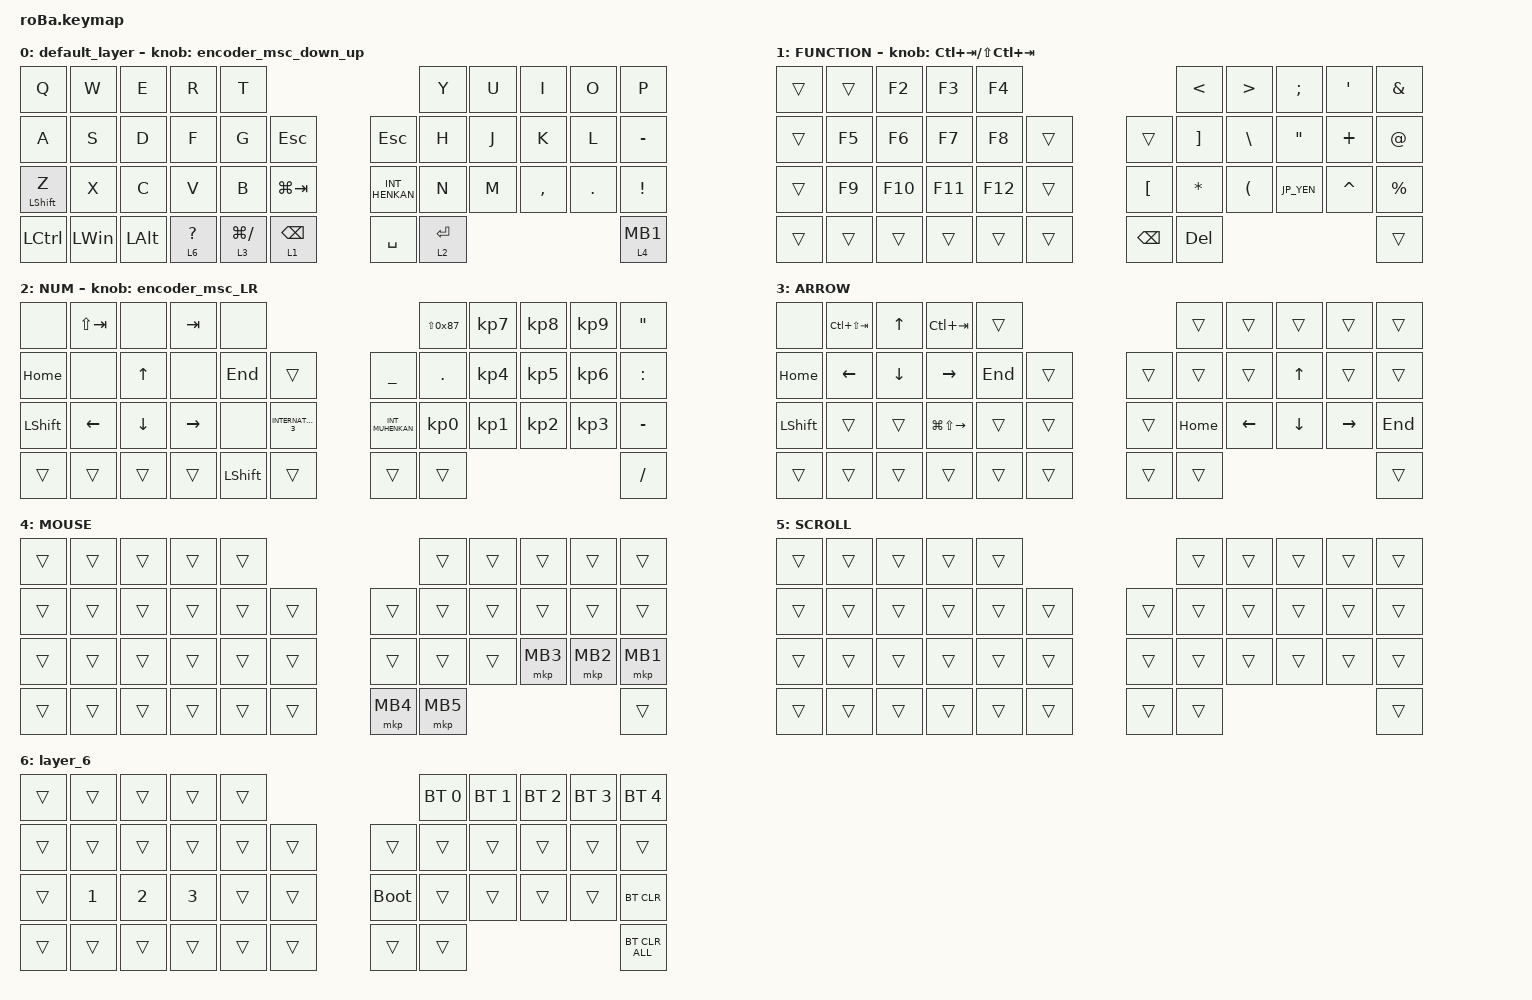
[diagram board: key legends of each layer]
#include <dt-bindings/zmk/mouse.h>
#include <behaviors.dtsi>
#include <dt-bindings/zmk/bt.h>
#include <dt-bindings/zmk/keys.h>
#include <dt-bindings/zmk/pointing.h>

#define ZMK_POINTING_DEFAULT_SCRL_VAL 80

// OS設定を日本語キーボードのまま使用するための変換定義

#define JP_DQUOTE       AT                // "
#define JP_AMPERSAND    CARET             // &
#define JP_QUOTE        AMPERSAND         // '
#define JP_EQUAL        UNDER             // =
#define JP_CARET        EQUAL             // ^
#define JP_YEN          0x89              // ¥
#define JP_PLUS         COLON             // +
#define JP_TILDE        PLUS              // ~
#define JP_PIPE         LS(0x89)          // |
#define JP_AT           LEFT_BRACKET      // @
#define JP_COLON        SINGLE_QUOTE      // :
#define JP_ASTERISK     DOUBLE_QUOTES     // *
#define JP_BACKQUOTE    LEFT_BRACE        // `
#define JP_UNDERSCORE   LS(0x87)          // _
#define JP_LBRACKET     RIGHT_BRACKET     // [
#define JP_RBRACKET     BACKSLASH         // ]
#define JP_LPAREN       ASTERISK          // (
#define JP_RPAREN       LEFT_PARENTHESIS  // )
#define JP_LBRACE       RIGHT_BRACE       // {
#define JP_RBRACE       PIPE              // }
#define JP_KANA         LANGUAGE_1        // かな
#define JP_EISU         LANGUAGE_2        // 英数
#define JP_HANZEN       GRAVE             // 半角/全角

&mt {
    flavor = "balanced";
    quick-tap-ms = <0>;
};

/ {
    combos {
        compatible = "zmk,combos";

        tab {
            bindings = <&kp TAB>;
            key-positions = <11 12>;
        };

        shift_tab {
            bindings = <&kp LS(TAB)>;
            key-positions = <12 13>;
        };

        Ctrl_Alt_Del {
            bindings = <&kp LC(LA(DEL))>;
            key-positions = <34 35 9>;
            layers = <0>;
        };

        Scroll_Layer {
            bindings = <&to 5>;
            key-positions = <32 33>;
        };
    };

    macros {
        to_layer_0: to_layer_0 {
            compatible = "zmk,behavior-macro-one-param";
            #binding-cells = <1>;
            bindings = <&to 0 &macro_param_1to1 &kp MACRO_PLACEHOLDER>;
            label = "TO_LAYER_0";
        };
    };

    behaviors {
        lt_to_layer_0: lt_to_layer_0 {
            compatible = "zmk,behavior-hold-tap";
            label = "LAYER_TAP_TO_0";
            bindings = <&mo>, <&to_layer_0>;

            #binding-cells = <2>;
            tapping-term-ms = <200>;
        };

        // 新しく「mlt（マウス・レイヤー・タップ）」という動作を定義

        mlt: mouse_layer_tap {
            compatible = "zmk,behavior-hold-tap";
            #binding-cells = <2>;
            flavor = "tap-preferred";
            tapping-term-ms = <200>;
            bindings = <&mo>, <&mkp>;
        };

        // スクロール上下の設定

        encoder_msc_down_up: encoder_msc_down_up {
            compatible = "zmk,behavior-sensor-rotate";
            label = "ENCODER_MSC_DOWN_UP";
            #sensor-binding-cells = <0>;
            bindings = <&msc SCRL_DOWN>, <&msc SCRL_UP>;

            tap-ms = <20>;
        };

        // スクロール左右の設定

        encoder_msc_LR: encoder_msc_LR {
            compatible = "zmk,behavior-sensor-rotate";
            label = "ENCODER_MSC_LR";
            #sensor-binding-cells = <0>;
            bindings = <&msc SCRL_RIGHT>, <&msc SCRL_LEFT>;

            tap-ms = <20>;
        };
    };

    keymap {
        compatible = "zmk,keymap";

        default_layer {
            bindings = <
&kp Q             &kp W         &kp E         &kp R                      &kp T                                                            &kp Y        &kp U  &kp I      &kp O    &kp P
&kp A             &kp S         &kp D         &kp F                      &kp G            &kp ESC                         &kp ESC         &kp H        &kp J  &kp K      &kp L    &kp MINUS
&mt LEFT_SHIFT Z  &kp X         &kp C         &kp V                      &kp B            &kp LG(TAB)                     &kp INT_HENKAN  &kp N        &kp M  &kp COMMA  &kp DOT  &kp EXCLAMATION
&kp LCTRL         &kp LEFT_WIN  &kp LEFT_ALT  &lt_to_layer_0 6 QUESTION  &lt 3 LG(SLASH)  &lt_to_layer_0 1 BACKSPACE      &kp SPACE       &lt 2 ENTER                             &mlt 4 MB1
            >;

            sensor-bindings = <&encoder_msc_down_up>;
        };

        FUNCTION {
            bindings = <
&trans  &trans  &kp F2   &kp F3   &kp F4                              &kp LESS_THAN    &kp GREATER_THAN  &kp SEMICOLON    &kp JP_COLON      &kp JP_QUOTE
&trans  &kp F5  &kp F6   &kp F7   &kp F8   &trans      &trans         &kp JP_LBRACKET  &kp JP_RBRACKET   &kp JP_ASTERISK  &kp JP_TILDE      &kp JP_DQUOTE
&trans  &kp F9  &kp F10  &kp F11  &kp F12  &trans      &kp JP_AT      &kp JP_LPAREN    &kp JP_RPAREN     &kp JP_YEN       &kp JP_AMPERSAND  &kp PERCENT
&trans  &trans  &trans   &trans   &trans   &trans      &kp BACKSPACE  &kp DELETE                                                            &trans
            >;

            sensor-bindings = <&inc_dec_kp LC(TAB) LS(LC(TAB))>;
        };

        NUM {
            bindings = <
&none           &kp LS(TAB)     &none         &kp TAB          &none                                                      &kp JP_UNDERSCORE  &kp KP_NUMBER_7  &kp KP_NUMBER_8  &kp KP_NUMBER_9  &kp JP_ASTERISK
&kp HOME        &none           &kp UP_ARROW  &none            &kp END         &trans                   &kp JP_EQUAL      &kp PERIOD         &kp KP_NUMBER_4  &kp KP_NUMBER_5  &kp KP_NUMBER_6  &kp JP_PLUS
&kp LEFT_SHIFT  &kp LEFT_ARROW  &kp DOWN      &kp RIGHT_ARROW  &none           &kp INTERNATIONAL_3      &kp INT_MUHENKAN  &kp KP_NUMBER_0    &kp KP_NUMBER_1  &kp KP_NUMBER_2  &kp KP_NUMBER_3  &kp MINUS
&trans          &trans          &trans        &trans           &kp LEFT_SHIFT  &trans                   &trans            &trans                                                                &kp SLASH
            >;

            sensor-bindings = <&encoder_msc_LR>;
        };

        ARROW {
            bindings = <
&none           &kp LC(LS(TAB))  &kp UP_ARROW    &kp LC(TAB)              &trans                       &trans    &trans    &trans    &trans     &trans
&kp HOME        &kp LEFT_ARROW   &kp DOWN_ARROW  &kp RIGHT_ARROW          &kp END  &trans      &trans  &trans    &trans    &kp UP    &trans     &trans
&kp LEFT_SHIFT  &trans           &trans          &kp LG(LS(RIGHT_ARROW))  &trans   &trans      &trans  &kp HOME  &kp LEFT  &kp DOWN  &kp RIGHT  &kp END
&trans          &trans           &trans          &trans                   &trans   &trans      &trans  &trans                                   &trans
            >;
        };

        MOUSE {
            bindings = <
&trans  &trans  &trans  &trans  &trans                        &trans    &trans  &trans    &trans    &trans
&trans  &trans  &trans  &trans  &trans  &trans      &trans    &trans    &trans  &trans    &trans    &trans
&trans  &trans  &trans  &trans  &trans  &trans      &trans    &trans    &trans  &mkp MB3  &mkp MB2  &mkp MB1
&trans  &trans  &trans  &trans  &trans  &trans      &mkp MB4  &mkp MB5                              &trans
            >;
        };

        SCROLL {
            bindings = <
&trans  &trans  &trans  &trans  &trans                      &trans  &trans  &trans  &trans  &trans
&trans  &trans  &trans  &trans  &trans  &trans      &trans  &trans  &trans  &trans  &trans  &trans
&trans  &trans  &trans  &trans  &trans  &trans      &trans  &trans  &trans  &trans  &trans  &trans
&trans  &trans  &trans  &trans  &trans  &trans      &trans  &trans                          &trans
            >;
        };

        layer_6 {
            bindings = <
&trans  &trans        &trans        &trans        &trans                           &bt BT_SEL 0  &bt BT_SEL 1  &bt BT_SEL 2  &bt BT_SEL 3  &bt BT_SEL 4
&trans  &trans        &trans        &trans        &trans  &trans      &trans       &trans        &trans        &trans        &trans        &trans
&trans  &kp NUMBER_1  &kp NUMBER_2  &kp NUMBER_3  &trans  &trans      &bootloader  &trans        &trans        &trans        &trans        &bt BT_CLR
&trans  &trans        &trans        &trans        &trans  &trans      &trans       &trans                                                  &bt BT_CLR_ALL
            >;
        };
    };
};
